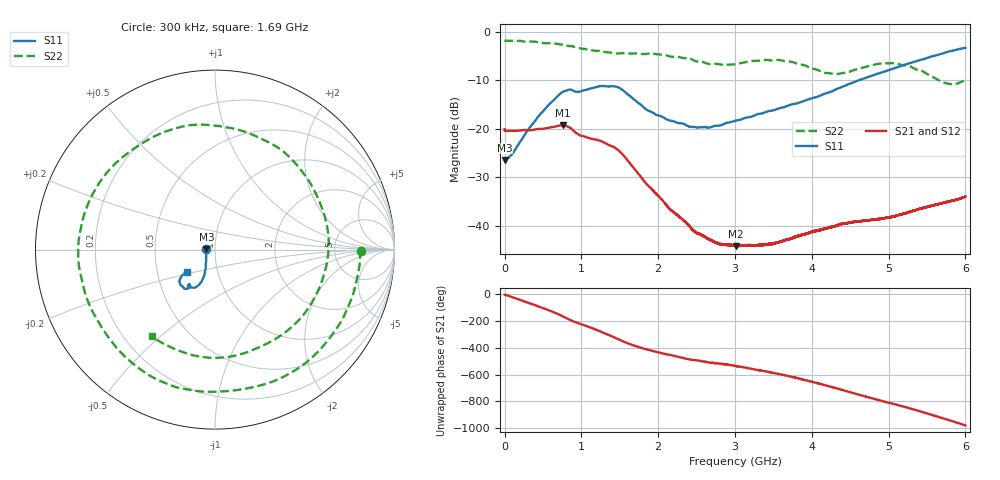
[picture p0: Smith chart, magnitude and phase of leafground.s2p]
!  8/6/2020  03:27:17
! Ref Plane: 0.000 mm
# MHZ S MA R  50
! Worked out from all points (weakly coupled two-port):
!   10001 points, 300 kHz to 6 GHz, reference 50 ohm
!   highest |S21| = -19.26 dB at 754.5 MHz (marker M1); lowest = -44.2 dB at 3.009 GHz (marker M2)
!   lowest |S11| = -26.4 dB at 300 kHz (marker M3), VSWR 1.10, Z = 45.4 + j0.0538 ohm
!   |S11| at or under -10 dB: start of sweep to 4.607 GHz
!   |S22| runs from -10.8 to -1.8 dB; largest |S21 - S12| = 0.0026
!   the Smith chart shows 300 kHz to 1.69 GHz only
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0.3  0.04768 179.3  0.09895 -1.1  0.09639 -0.9  0.8146 -0.4
341.6829  0.1068 -118.8  0.09685 -68.8  0.09702 -68.9  0.7941 -100.8
561.272  0.1719 -112.6  0.1022 -115.1  0.1023 -115.3  0.7618 -164.1
754.4623  0.2395 -117.9  0.1089 -162.6  0.1089 -162.6  0.7353 140.8
1000.45  0.2444 -124.4  0.08463 137.5  0.08473 137.5  0.6714 69.5
1247.638  0.2766 -127.8  0.07536 82.7  0.07545 82.7  0.631 -2.1
1533.823  0.2525 -140.1  0.05488 10.9  0.05499 10.8  0.6023 -83.9
1785.211  0.1738 -137.9  0.03125 -41.2  0.03127 -41.1  0.5912 -151.1
2000.6  0.1382 -124.9  0.02055 -74.0  0.02054 -73.9  0.586 153.6
2263.387  0.1149 -103.8  0.01265 -107.3  0.01265 -107.5  0.5511 86.4
2550.773  0.1041 -79.9  0.008144 -138.2  0.008235 -137.8  0.4932 7.2
2784.761  0.1077 -58.5  0.006572 -157.3  0.006571 -157.5  0.4647 -63.5
3000.15  0.1207 -42.2  0.006181 -174.8  0.006241 -175.0  0.4621 -129.0
3009.15  0.1213 -41.5  0.006179 -175.8  0.006274 -175.7  0.4632 -131.8
3241.338  0.1362 -28.2  0.006286 160.2  0.006302 159.8  0.5012 164.8
3533.523  0.1583 -13.1  0.006664 127.9  0.006679 128.0  0.512 93.0
4000.3  0.2067 9.0  0.008707 66.0  0.008732 66.0  0.418 -24.9
4238.488  0.2398 18.9  0.009665 29.3  0.009667 29.7  0.3741 -98.6
4509.075  0.2949 26.7  0.01085 -14.1  0.01089 -14.0  0.3921 175.3
5000.45  0.4023 35.2  0.01226 -91.0  0.01224 -91.1  0.4726 52.4
5530.824  0.5472 37.9  0.01592 -176.5  0.01591 -176.7  0.3565 -74.7
6000  0.6847 29.6  0.02 98.6  0.02006 98.8  0.3193 127.7
